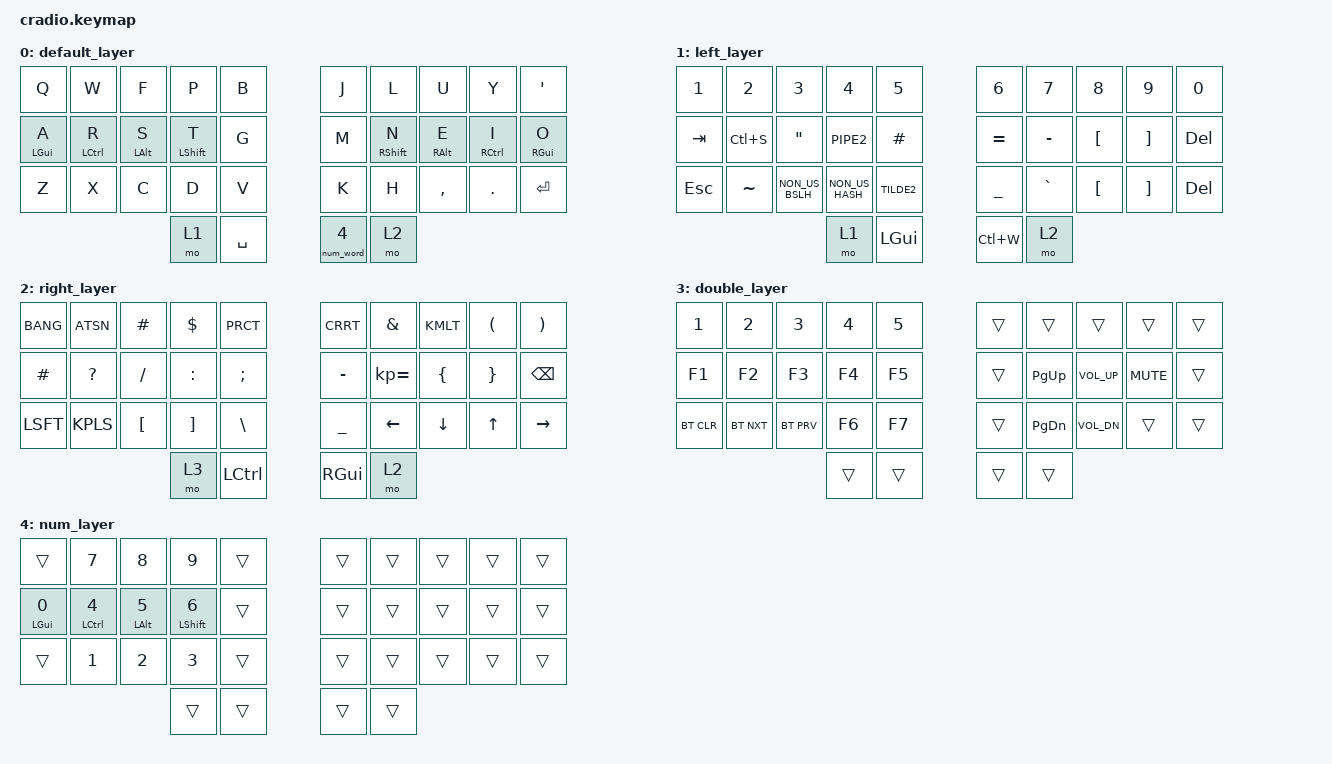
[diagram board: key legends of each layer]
/*
 * Copyright (c) 2020 The ZMK Contributors
 *
 * SPDX-License-Identifier: MIT
 */

#include <behaviors.dtsi>
#include <behaviors/num_word.dtsi>
#include <dt-bindings/zmk/keys.h>
#include <dt-bindings/zmk/bt.h>
#include "keypos_34keys.h"

// Adapted from https://github.com/urob/zmk-config
#define KEYS_L LT0 LT1 LT2 LT3 LT4 LM0 LM1 LM2 LM3 LM4 LB0 LB1 LB2 LB3 LB4  // left-hand keys
#define KEYS_R RT0 RT1 RT2 RT3 RT4 RM0 RM1 RM2 RM3 RM4 RB0 RB1 RB2 RB3 RB4  // right-hand keys
#define THUMBS LH1 LH0 RH0 RH1                                              // thumb keys

#define QUICK_TAP_MS 175

#include "combos.dtsi"

&caps_word {  // mods deactivate caps-word, requires PR #1451
    /delete-property/ ignore-modifiers;
};

&mt {
    flavor = "tap-preferred";
    tapping-term-ms = <220>;
    quick-tap-ms = <220>;              // repeat on tap-into-hold
    hold-trigger-key-positions = <0>;  // tap on interrupt
};

/ {
    behaviors
    {
        hml: hml
        {  // left-hand HRMs
            compatible = "zmk,behavior-hold-tap"; 
            flavor = "balanced";
            tapping-term-ms = <280>;
            quick-tap-ms = <QUICK_TAP_MS>;
            require-prior-idle-ms = <150>;        // requires PR #1387
            #binding-cells = <2>;
            bindings = <&kp>, <&kp>;
            hold-trigger-key-positions = <KEYS_R THUMBS>;
            hold-trigger-on-release;            // requires PR #1423
        };

        hmr: hmr 
        {  // right-hand HRMs
            compatible = "zmk,behavior-hold-tap"; 
            flavor = "balanced";
            tapping-term-ms = <280>;
            quick-tap-ms = <QUICK_TAP_MS>;
            require-prior-idle-ms = <150>;        // requires PR #1387
            #binding-cells = <2>;
            bindings = <&kp>, <&kp>;
            hold-trigger-key-positions = <KEYS_L THUMBS>;
            hold-trigger-on-release;           // requires PR #1423
        }; // End @urob's config
    };
    
    macros
    {
        win_sc: windows_screenshot
        {
            compatible = "zmk,behavior-macro";
            #binding-cells = <0>;
            bindings = <&macro_press &kp RGUI &kp LSHFT>,
                       <&macro_tap &kp S>,
                       <&macro_release &kp RGUI &kp LSHFT>;
        };
    };

    keymap {
        compatible = "zmk,keymap";

        default_layer
        {
            bindings = <
                &kp  Q      &kp  W       &kp  F          &kp  P          &kp B                 &kp J        &kp  L       &kp  U       &kp  Y       &kp  QUOT
                &hml LGUI A &hml LCTRL R &hml LALT S     &hml LSHFT T    &kp G                 &kp M        &hmr RSHFT N &hmr RALT E  &hmr RCTRL I &hmr RGUI O
                &kp  Z      &kp  X       &kp  C          &kp  D          &kp V                 &kp K        &kp  H       &kp  CMMA    &kp  DOT     &kp  RET
                                                         &mo  1          &kp SPC               &num_word 4  &mo  2
            >;
        };

        left_layer
        {
            bindings = <
                &kp NUM_1   &kp NUM_2    &kp NUM_3       &kp NUM_4       &kp NUM_5             &kp NUM_6    &kp NUM_7    &kp NUM_8    &kp NUM_9    &kp NUM_0
                &kp TAB     &kp LC(S)    &kp DQT         &kp PIPE2       &kp HASH              &kp EQL      &kp MINUS    &kp LBKT     &kp RBKT     &kp DEL
                &kp ESC     &kp TILDE    &kp NON_US_BSLH &kp NON_US_HASH &kp TILDE2            &kp UNDER    &kp GRAVE    &kp LBKT     &kp RBKT     &kp DEL
                                                         &mo 1           &kp LGUI              &kp LC(W)    &mo 2
            >;
        };

        right_layer {
            bindings = <
                &kp BANG    &kp ATSN     &kp HASH        &kp DLLR        &kp PRCT              &kp CRRT     &kp AMPS     &kp KMLT     &kp LPRN     &kp RPRN
                &kp HASH    &kp QMARK    &kp FSLH        &kp COLN        &kp SCLN              &kp MINUS    &kp KP_EQUAL &kp LBRC     &kp RBRC     &kp BKSP
                &kp LSFT    &kp KPLS     &kp LBKT        &kp RBKT        &kp BSLH              &kp UNDER    &kp LEFT     &kp DOWN     &kp UP       &kp RIGHT
                                                         &mo 3           &kp LCTRL             &kp RGUI     &mo 2
            >;
        };

        double_layer {
            bindings = <
                &kp NUM_1   &kp NUM_2    &kp NUM_3       &kp NUM_4       &kp NUM_5             &trans       &trans       &trans       &trans       &trans
                &kp F1      &kp F2       &kp F3          &kp F4          &kp F5                &trans       &kp PG_UP    &kp C_VOL_UP &kp C_MUTE   &trans
                &bt BT_CLR  &bt BT_NXT   &bt BT_PRV      &kp F6          &kp F7                &trans       &kp PG_DN    &kp C_VOL_DN &trans       &trans
                                                         &trans          &trans                &trans       &trans
            >;
        };

        num_layer {
            bindings = <
                &trans          &kp NUM_7        &kp NUM_8       &kp NUM_9        &trans               &trans       &trans       &trans       &trans       &trans
                &hml LGUI NUM_0 &hml LCTRL NUM_4 &hml LALT NUM_5 &hml LSHFT NUM_6 &trans               &trans       &trans       &trans       &trans       &trans
                &trans          &kp NUM_1        &kp NUM_2       &kp NUM_3        &trans               &trans       &trans       &trans       &trans       &trans
                                                                 &trans           &trans               &trans       &trans
                >;
        };

    };
};
